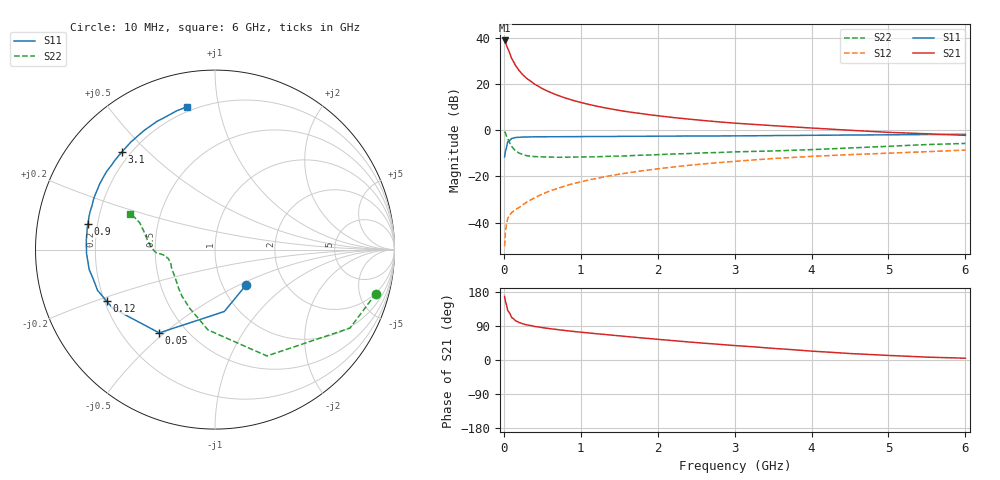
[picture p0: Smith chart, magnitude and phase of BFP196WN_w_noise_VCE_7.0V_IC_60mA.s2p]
! Infineon Technologies  Discrete & RF Semiconductors
! BFP196WN
! VCE =  7.0 V,  IC =  60 mA
! Common Emitter S-Parameters:  Jan 2017
# GHz  S  MA  R  50
!  f  S11  S21  S12  S22
! GHz  MAG  ANG  MAG  ANG  MAG  ANG  MAG  ANG
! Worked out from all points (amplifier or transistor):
!   77 points, 10 MHz to 6 GHz, reference 50 ohm
!   highest |S21| = 38.7 dB at 10 MHz (marker M1)
!   |S21| within 3 dB of that: start of sweep to 45.18 MHz
!   unconditionally stable (mu >= 1): 625.6 MHz to 2.632 GHz
!   at 130 MHz: K = 0.57, MSG = 32.1 dB, |S12| = -34.9 dB
!   at 2.2 GHz: K = 1.01, MAG = 10.0 dB, |S12| = -16.0 dB
!   at 6 GHz: K = 0.91, MSG = 3.2 dB, |S12| = -8.6 dB
!   lowest NFmin = 1.38 dB at 450 MHz
!   S11 on the Smith chart (normalised r, x): 10 MHz: 1.29, -0.55; 50 MHz: 0.36, -0.48; 120 MHz: 0.21, -0.22; 900 MHz: 0.16, +0.10; 3.1 GHz: 0.17, +0.42; 6 GHz: 0.17, +0.81
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0.01  0.2626 -48.8  86.58 167.7  0.0031 78.3  0.9292 -15.3
0.02  0.3486 -81.4  79.38 155.3  0.0061 76.6  0.87 -30.2
0.05  0.5584 -123.8  58.73 130.8  0.0124 54.8  0.659 -64.0
0.1  0.6571 -150.2  35.72 112.4  0.0164 50.2  0.4491 -95.0
0.12  0.6685 -154.6  31.43 109.7  0.0175 50.0  0.4076 -101.2
0.15  0.6925 -160.8  25.18 103.9  0.0191 49.8  0.3569 -113.1
0.2  0.6991 -167.0  19.2 98.9  0.0213 55.3  0.3182 -125.3
0.25  0.7102 -171.1  15.51 95.3  0.0245 56.5  0.2956 -133.4
0.3  0.7107 -174.0  13 92.7  0.0279 59.4  0.2791 -140.2
0.4  0.7161 -178.4  9.832 88.5  0.0343 63.8  0.2675 -148.5
0.5  0.717 178.3  7.882 85.4  0.0414 66.2  0.2639 -154.3
0.6  0.7191 175.5  6.586 82.6  0.0485 67.7  0.2616 -158.7
0.7  0.7191 173.3  5.639 80.2  0.0549 68.7  0.2584 -161.5
0.8  0.7215 170.8  4.939 77.7  0.0625 69.1  0.2592 -163.5
0.9  0.7224 168.7  4.387 75.5  0.0694 69.0  0.2615 -165.2
1.1  0.726 165.0  3.601 71.5  0.0834 68.9  0.2635 -168.3
1.5  0.7313 158.3  2.664 63.8  0.1114 67.4  0.2741 -172.2
2.1  0.7402 148.6  1.957 52.9  0.1524 63.6  0.2994 -175.0
3.1  0.7512 133.8  1.38 36.8  0.2174 55.7  0.3417 -179.4
4.1  0.7738 119.5  1.085 22.2  0.2751 47.2  0.3844 170.9
5.1  0.7926 108.8  0.881 11.2  0.322 39.6  0.4543 159.8
6  0.8108 101.0  0.771 4.7  0.3695 33.6  0.5152 157.1
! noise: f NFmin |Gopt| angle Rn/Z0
0.45  1.38  0.55  -177  0.05
0.9  1.49  0.57  -169  0.06
1.9  2.42  0.69  -147  0.18
2.4  3.19  0.7  -139  0.3
